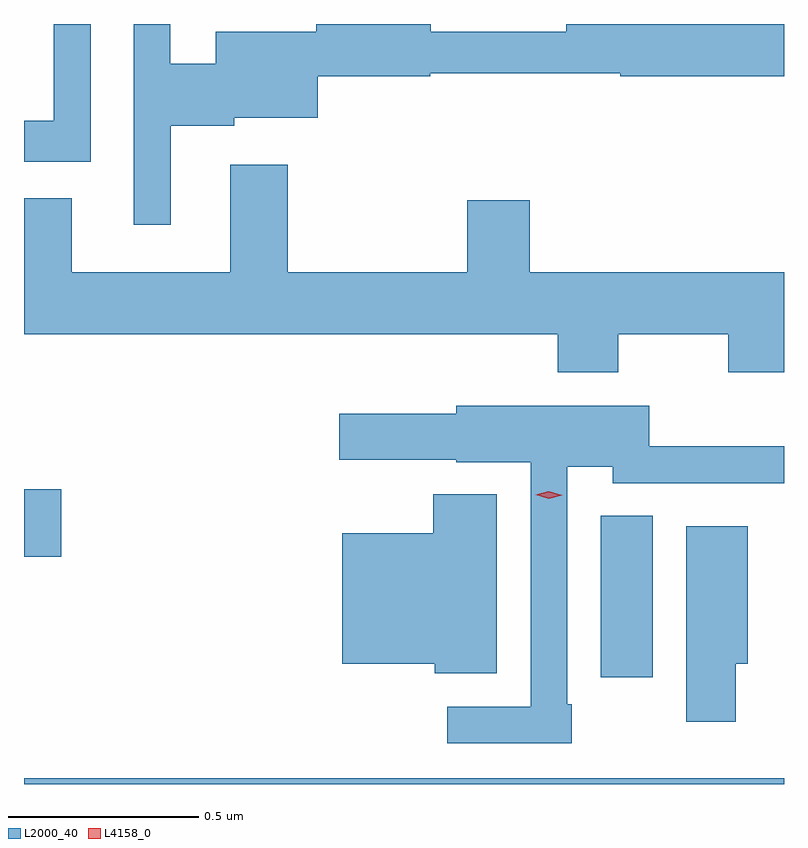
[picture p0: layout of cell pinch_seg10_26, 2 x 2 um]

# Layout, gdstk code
import gdstk
lib = gdstk.Library(unit=1e-6, precision=1e-09)
def R(c, l, rs):  # rectangles x0, y0, x1, y1
    for r in rs: c.add(gdstk.rectangle(r[:2], r[2:], *l))
def P(c, l, *ps):  # polygons
    for p in ps: c.add(gdstk.Polygon(p, *l))
L2000_40 = (2000, 40)
L4158_0 = (4158, 0)

pinch_seg10_26 = lib.new_cell('pinch_seg10_26')
R(pinch_seg10_26, L2000_40, [(943.061,1319.113,945.061,1319.128), (944.579,1319.394,944.716,1319.819), (943.061,1319.711,943.159,1319.889)])
P(pinch_seg10_26, L2000_40, [(943.447,1320.845),(943.614,1320.845),(943.614,1320.866),(943.834,1320.866),(943.834,1320.976),(944.13,1320.976),(944.13,1320.984),(944.63,1320.984),(944.63,1320.976),(945.061,1320.976),(945.061,1321.112),(944.488,1321.112),(944.488,1321.093),(944.132,1321.093),(944.132,1321.112),(943.83,1321.112),(943.83,1321.092),(943.565,1321.092),(943.565,1321.009),(943.446,1321.009),(943.446,1321.113),(943.35,1321.113),(943.35,1320.585),(943.447,1320.585)],
  [(943.236,1321.113),(943.139,1321.113),(943.139,1320.859),(943.061,1320.859),(943.061,1320.75),(943.236,1320.75)],
  [(944.625,1320.296),(944.914,1320.296),(944.914,1320.197),(945.061,1320.197),(945.061,1320.46),(944.392,1320.46),(944.392,1320.649),(944.228,1320.649),(944.228,1320.46),(943.755,1320.46),(943.755,1320.742),(943.604,1320.742),(943.604,1320.46),(943.186,1320.46),(943.186,1320.655),(943.061,1320.655),(943.061,1320.296),(944.465,1320.296),(944.465,1320.197),(944.625,1320.197)],
  [(944.503,1319.323),(944.49,1319.323),(944.49,1319.948),(944.61,1319.948),(944.61,1319.904),(945.061,1319.904),(945.061,1320.002),(944.706,1320.002),(944.706,1320.109),(944.199,1320.109),(944.199,1320.088),(943.89,1320.088),(943.89,1319.966),(944.199,1319.966),(944.199,1319.96),(944.394,1319.96),(944.394,1319.316),(944.175,1319.316),(944.175,1319.22),(944.503,1319.22)],
  [(944.305,1319.875),(944.138,1319.875),(944.138,1319.773),(943.898,1319.773),(943.898,1319.429),(944.142,1319.429),(944.142,1319.405),(944.305,1319.405)],
  [(944.934,1319.429),(944.965,1319.429),(944.965,1319.791),(944.804,1319.791),(944.804,1319.277),(944.934,1319.277)])
P(pinch_seg10_26, L4158_0, [(944.442,1319.864),(944.408,1319.874),(944.407,1319.874),(944.408,1319.874),(944.442,1319.884),(944.477,1319.873),(944.477,1319.873),(944.477,1319.873)])

lib.write_gds('pinch_seg10_26.gds')
